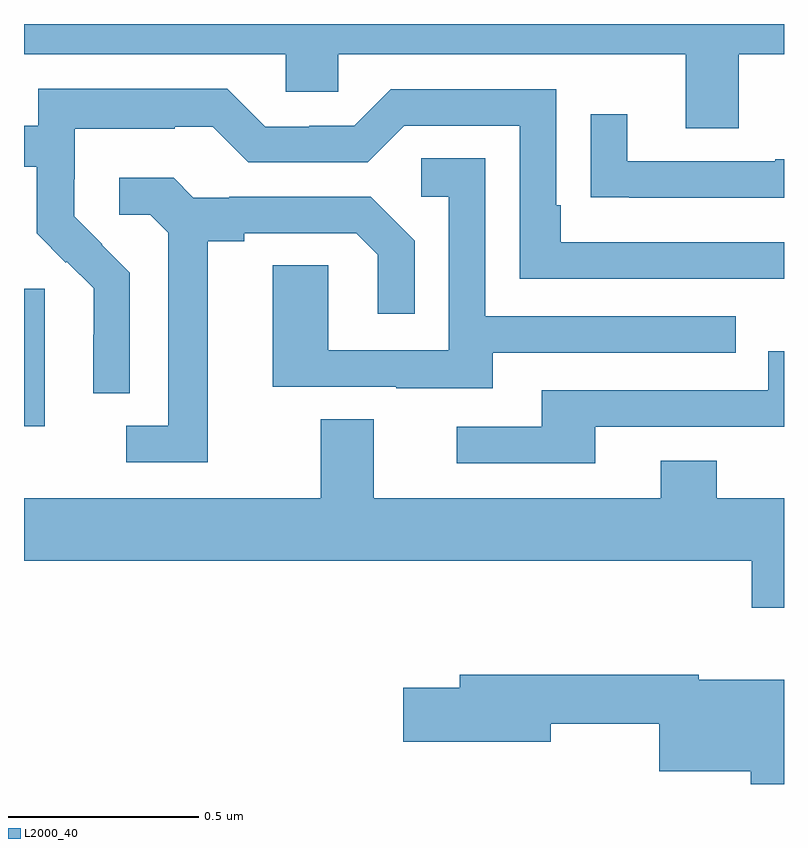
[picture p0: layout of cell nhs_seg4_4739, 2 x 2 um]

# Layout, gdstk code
import gdstk
lib = gdstk.Library(unit=1e-6, precision=1e-09)
def R(c, l, rs):  # rectangles x0, y0, x1, y1
    for r in rs: c.add(gdstk.rectangle(r[:2], r[2:], *l))
def P(c, l, *ps):  # polygons
    for p in ps: c.add(gdstk.Polygon(p, *l))
L2000_40 = (2000, 40)

nhs_seg4_4739 = lib.new_cell('nhs_seg4_4739')
R(nhs_seg4_4739, L2000_40, [(169,795.842,169.054,796.203)])
P(nhs_seg4_4739, L2000_40, [(170.881,796.82),(171,796.82),(171,796.9),(169,796.9),(169,796.82),(169.689,796.82),(169.689,796.722),(169.827,796.722),(169.827,796.82),(170.741,796.82),(170.741,796.626),(170.881,796.626)],
  [(169.278,796.246),(169.205,796.319),(169.206,796.32),(169.132,796.394),(169.132,796.491),(169.134,796.491),(169.134,796.625),(169.397,796.625),(169.397,796.629),(169.497,796.629),(169.59,796.536),(169.905,796.536),(170.001,796.632),(170.304,796.632),(170.304,796.23),(171,796.23),(171,796.326),(170.413,796.326),(170.413,796.423),(170.4,796.423),(170.4,796.728),(169.965,796.728),(169.869,796.632),(169.751,796.632),(169.751,796.629),(169.635,796.629),(169.535,796.729),(169.038,796.729),(169.038,796.632),(169,796.632),(169,796.524),(169.033,796.524),(169.033,796.349),(169.11,796.272),(169.113,796.275),(169.184,796.205),(169.184,796.082),(169.182,796.082),(169.182,795.928),(169.278,795.928)],
  [(171,796.544),(170.977,796.544),(170.977,796.539),(170.587,796.539),(170.587,796.663),(170.491,796.663),(170.491,796.444),(170.593,796.444),(170.593,796.443),(171,796.443)],
  [(170.233,796.035),(170.873,796.035),(170.873,796.131),(170.214,796.131),(170.214,796.547),(170.046,796.547),(170.046,796.446),(170.118,796.446),(170.118,796.041),(169.8,796.041),(169.8,796.265),(169.655,796.265),(169.655,795.945),(169.979,795.945),(169.979,795.941),(170.233,795.941)],
  [(169.483,796.328),(169.579,796.328),(169.579,796.35),(169.874,796.35),(169.931,796.293),(169.931,796.137),(170.028,796.137),(170.028,796.33),(169.912,796.446),(169.54,796.446),(169.54,796.443),(169.446,796.443),(169.394,796.495),(169.251,796.495),(169.251,796.398),(169.332,796.398),(169.379,796.351),(169.379,795.843),(169.269,795.843),(169.269,795.747),(169.483,795.747)],
  [(170.503,795.84),(171,795.84),(171,796.039),(170.958,796.039),(170.958,795.936),(170.363,795.936),(170.363,795.84),(170.139,795.84),(170.139,795.744),(170.503,795.744)],
  [(171,795.652),(170.823,795.652),(170.823,795.751),(170.675,795.751),(170.675,795.652),(169.921,795.652),(169.921,795.86),(169.781,795.86),(169.781,795.652),(169,795.652),(169,795.488),(170.915,795.488),(170.915,795.364),(171,795.364)],
  [(171,795.175),(170.776,795.175),(170.776,795.187),(170.147,795.187),(170.147,795.153),(169.998,795.153),(169.998,795.011),(170.386,795.011),(170.386,795.058),(170.672,795.058),(170.672,794.933),(170.912,794.933),(170.912,794.9),(171,794.9)])

lib.write_gds('nhs_seg4_4739.gds')
